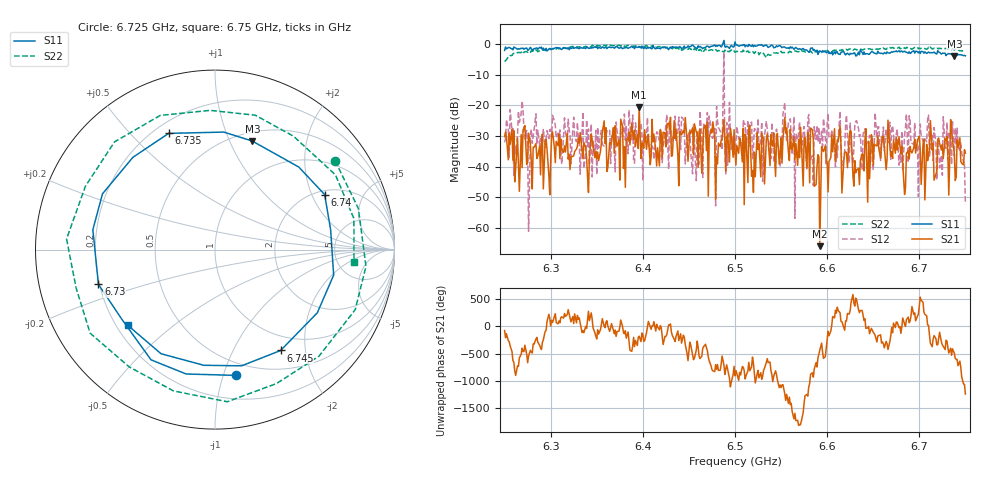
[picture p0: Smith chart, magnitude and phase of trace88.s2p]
# Hz S RI R 50
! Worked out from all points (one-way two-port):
!   401 points, 6.25 GHz to 6.75 GHz, reference 50 ohm
!   highest |S21| = -20.59 dB at 6.396 GHz (marker M1); lowest = -65.9 dB at 6.592 GHz (marker M2)
!   lowest |S11| = -3.9 dB at 6.738 GHz (marker M3), VSWR 4.55, Z = 29.8 + j60.9 ohm
!   |S11| at or under -10 dB: nowhere
!   |S22| runs from -5.7 to -0.3 dB; largest |S21 - S12| = 0.69
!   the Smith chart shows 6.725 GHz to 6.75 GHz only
!   S11 on the Smith chart (normalised r, x): 6.725 GHz: 0.39, -1.11; 6.73 GHz: 0.20, -0.14; 6.735 GHz: 0.26, +0.65; 6.74 GHz: 2.17, +2.50; 6.745 GHz: 0.77, -1.56; 6.75 GHz: 0.25, -0.35
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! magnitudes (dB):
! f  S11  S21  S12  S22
! 6.25 GHz  -2.1  -30.2  -32.1  -5.7
! 6.264 GHz  -1.7  -30.6  -29.6  -2.7
! 6.27 GHz  -1.3  -27.9  -21.2  -2.7
! 6.275 GHz  -2.0  -37.8  -34.1  -2.7
! 6.302 GHz  -1.6  -28.7  -23.2  -1.5
! 6.334 GHz  -1.2  -34.6  -29.3  -1.1
! 6.396 GHz  -1.0  -20.6  -27.0  -0.8
! 6.418 GHz  -1.3  -39.8  -31.4  -0.8
! 6.5 GHz  0.7  -35.0  -36.0  -2.6
! 6.52 GHz  -0.8  -48.4  -33.9  -2.7
! 6.546 GHz  -0.8  -29.1  -32.5  -3.0
! 6.555 GHz  -1.2  -29.0  -27.4  -2.7
! 6.584 GHz  -1.3  -28.0  -36.4  -2.9
! 6.592 GHz  -2.2  -65.9  -32.8  -2.5
! 6.668 GHz  -3.0  -33.2  -25.5  -1.1
! 6.725 GHz  -3.0  -32.7  -42.8  -1.6
! 6.73 GHz  -3.4  -30.2  -25.5  -1.6
! 6.735 GHz  -3.1  -28.3  -39.3  -1.8
! 6.738 GHz  -3.9  -35.8  -36.6  -1.9
! 6.74 GHz  -3.3  -43.4  -32.8  -1.9
! 6.745 GHz  -3.5  -38.3  -32.3  -2.1
! 6.75 GHz  -3.8  -35.6  -52.3  -2.2
